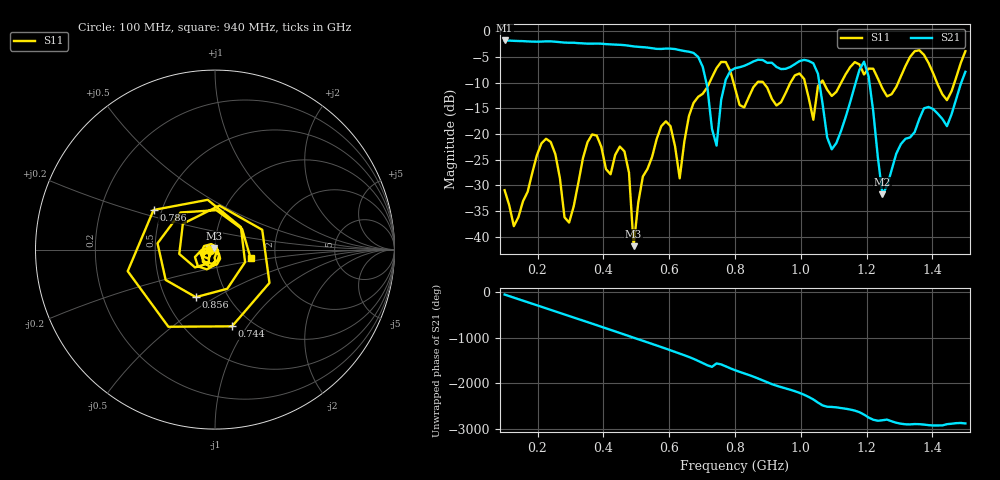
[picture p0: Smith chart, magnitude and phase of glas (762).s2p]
! NanoVNA-App
! Date: 2025-09-25 16:01:24
! Start: 100MHz Stop: 1,5GHz Points: 101
! S-Parameter data: F S11 S21 S12 S22
# Hz S RI R 50
!  Frequency  S11_Real  S11_Imag  S21_Real  S21_Imag  S12_Real  S12_Imag  S22_Real  S22_Imag
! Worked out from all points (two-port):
!   101 points, 100 MHz to 1.5 GHz, reference 50 ohm
!   highest |S21| = -1.80 dB at 100 MHz (marker M1); lowest = -31.7 dB at 1.248 GHz (marker M2)
!   |S21| within 3 dB of the highest: start of sweep to 684.4 MHz
!   lowest |S11| = -41.8 dB at 492 MHz (marker M3), VSWR 1.02, Z = 49.5 + j0.642 ohm
!   |S11| at or under -10 dB: start of sweep to 722.5 MHz; 795.5 MHz to 867.7 MHz (72.21 MHz wide, 8.68 % of centre); 885.9 MHz to 968.6 MHz (82.61 MHz wide, 8.91 % of centre) (the widest 3 of 7)
!   S12 and S22 are empty: the file has one direction only
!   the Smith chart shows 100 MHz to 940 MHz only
!   S11 on the Smith chart (normalised r, x): 100 MHz: 0.94, -0.01; 744 MHz: 0.81, -0.85; 786 MHz: 0.45, +0.24; 856 MHz: 0.71, -0.41; 940 MHz: 1.49, -0.15
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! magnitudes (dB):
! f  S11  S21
! 100 MHz  -30.9  -1.8
! 128 MHz  -37.9  -1.9
! 226 MHz  -20.9  -2.0
! 296 MHz  -37.2  -2.2
! 338 MHz  -24.7  -2.4
! 464 MHz  -23.4  -2.7
! 492 MHz  -41.8  -3.0
! 576 MHz  -18.5  -3.5
! 632 MHz  -28.6  -3.7
! 702 MHz  -12.2  -6.9
! 744 MHz  -7.2  -22.2
! 786 MHz  -7.8  -7.7
! 800 MHz  -11.0  -7.2
! 856 MHz  -10.9  -5.9
! 940 MHz  -13.8  -7.4
! 996 MHz  -8.2  -5.8
! 1.038 GHz  -17.2  -6.2
! 1.094 GHz  -12.6  -23.0
! 1.192 GHz  -8.4  -5.9
! 1.248 GHz  -11.2  -31.7
! 1.276 GHz  -12.2  -27.0
! 1.5 GHz  -3.9  -7.9
